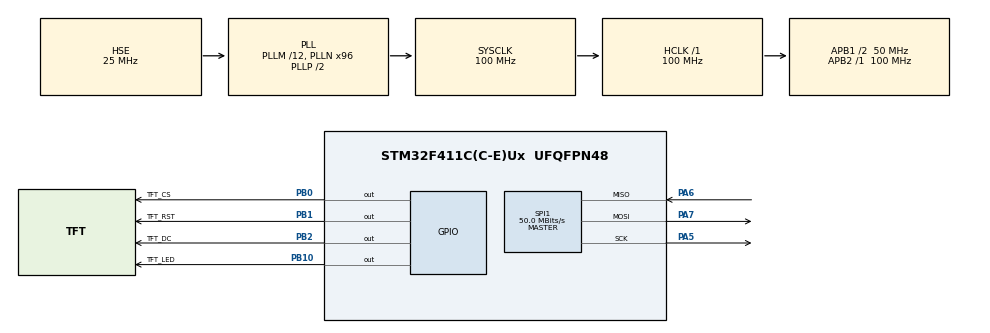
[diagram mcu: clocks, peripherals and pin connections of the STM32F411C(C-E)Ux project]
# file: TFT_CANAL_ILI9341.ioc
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Mcu.Family=STM32F4
Mcu.Name=STM32F411C(C-E)Ux
Mcu.Package=UFQFPN48
NVIC.PriorityGroup=NVIC_PRIORITYGROUP_4
PA5.Mode=Full_Duplex_Master
PA5.Signal=SPI1_SCK
PA6.Mode=Full_Duplex_Master
PA6.Signal=SPI1_MISO
PA7.Mode=Full_Duplex_Master
PA7.Signal=SPI1_MOSI
PB0.GPIO_Label=TFT_CS
PB0.Signal=GPIO_Output
PB1.GPIO_Label=TFT_RST
PB1.Signal=GPIO_Output
PB10.GPIO_Label=TFT_LED
PB10.Signal=GPIO_Output
PB2.GPIO_Label=TFT_DC
PB2.Signal=GPIO_Output
PH0\ -\ OSC_IN.Mode=HSE-External-Oscillator
PH0\ -\ OSC_IN.Signal=RCC_OSC_IN
PH1\ -\ OSC_OUT.Mode=HSE-External-Oscillator
PH1\ -\ OSC_OUT.Signal=RCC_OSC_OUT
ProjectManager.HeapSize=0x200
ProjectManager.StackSize=0x400
ProjectManager.TargetToolchain=STM32CubeIDE
RCC.48MHZClocksFreq_Value=50000000
RCC.AHBFreq_Value=100000000
RCC.APB1CLKDivider=RCC_HCLK_DIV2
RCC.APB1Freq_Value=50000000
RCC.APB1TimFreq_Value=100000000
RCC.APB2Freq_Value=100000000
RCC.APB2TimFreq_Value=100000000
RCC.CortexFreq_Value=100000000
RCC.HCLKFreq_Value=100000000
RCC.HSE_VALUE=25000000
RCC.HSI_VALUE=16000000
RCC.LSE_VALUE=32768
RCC.PLLM=12
RCC.PLLN=96
RCC.PLLSourceVirtual=RCC_PLLSOURCE_HSE
RCC.SYSCLKFreq_VALUE=100000000
RCC.SYSCLKSource=RCC_SYSCLKSOURCE_PLLCLK
RCC.VCOOutputFreq_Value=200000000
SPI1.BaudRatePrescaler=SPI_BAUDRATEPRESCALER_2
SPI1.CalculateBaudRate=50.0 MBits/s
SPI1.Direction=SPI_DIRECTION_2LINES
SPI1.Mode=SPI_MODE_MASTER
SPI1.VirtualType=VM_MASTER
board=custom

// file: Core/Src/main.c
/* USER CODE BEGIN Header */
/**
  ******************************************************************************
  * @file           : main.c
  * @brief          : Main program body
  ******************************************************************************
  * @attention
  *
  * Copyright (c) 2025 STMicroelectronics.
  * All rights reserved.
  *
  * This software is licensed under terms that can be found in the LICENSE file
  * in the root directory of this software component.
  * If no LICENSE file comes with this software, it is provided AS-IS.
  *
  ******************************************************************************
  */
/* USER CODE END Header */
#include "main.h"

/* USER CODE BEGIN Includes */
#include "pinout.h"
#include "TFT_.h"

/* USER CODE END Includes */

SPI_HandleTypeDef hspi1;

void SystemClock_Config(void);
static void MX_GPIO_Init(void);
static void MX_SPI1_Init(void);

int main(void)
{

  /* MCU Configuration--------------------------------------------------------*/

  /* Reset of all peripherals, Initializes the Flash interface and the Systick. */
  HAL_Init();

  /* Configure the system clock */
  SystemClock_Config();

  /* Initialize all configured peripherals */
  MX_GPIO_Init();
  MX_SPI1_Init();
  /* USER CODE BEGIN 2 */

  //ENCENDER TFT
  PIN_ON(TFT_LED);

   TFT_Init();
   TFT_direction(Horizontal);

   TFT_Clear(YELLOW);
   if(TFTdev.id == 0)
       TFT_ShowString(10, 40, (uint8_t *)"2.8 Inch ILI9341 TFT", RED, BLACK, 16, 1);
     else
       TFT_ShowString(10, 40, (uint8_t *)"2.8 Inch ST7789 TFT", RED, BLACK, 16, 0);

     TFT_ShowString(10, 56, (uint8_t *)"TFT_W:", GREEN, BLACK, 16, 0);
     TFT_ShowIntNum(58, 56, TFT_W, 3, WHITE, BLACK, 16);

     TFT_ShowString(90, 56, (uint8_t *)"TFT_H:", BLUE, BLACK, 16, 0);
     TFT_ShowIntNum(138, 56, TFT_H, 3, WHITE, BLACK, 16);

     TFT_DrawCircle(200, 50, 30, BLUE);

     TFT_Fill(0, 120, 50, 170, WHITE);
  /* USER CODE END 2 */

  /* Infinite loop */
  while (1)
  {

  }
}

void SystemClock_Config(void)
{
  RCC_OscInitTypeDef RCC_OscInitStruct = {0};
  RCC_ClkInitTypeDef RCC_ClkInitStruct = {0};

  /** Configure the main internal regulator output voltage
  */
  __HAL_RCC_PWR_CLK_ENABLE();
  __HAL_PWR_VOLTAGESCALING_CONFIG(PWR_REGULATOR_VOLTAGE_SCALE1);

  /** Initializes the RCC Oscillators according to the specified parameters
  * in the RCC_OscInitTypeDef structure.
  */
  RCC_OscInitStruct.OscillatorType = RCC_OSCILLATORTYPE_HSE;
  RCC_OscInitStruct.HSEState = RCC_HSE_ON;
  RCC_OscInitStruct.PLL.PLLState = RCC_PLL_ON;
  RCC_OscInitStruct.PLL.PLLSource = RCC_PLLSOURCE_HSE;
  RCC_OscInitStruct.PLL.PLLM = 12;
  RCC_OscInitStruct.PLL.PLLN = 96;
  RCC_OscInitStruct.PLL.PLLP = RCC_PLLP_DIV2;
  RCC_OscInitStruct.PLL.PLLQ = 4;
  if (HAL_RCC_OscConfig(&RCC_OscInitStruct) != HAL_OK)
  {
    Error_Handler();
  }

  /** Initializes the CPU, AHB and APB buses clocks
  */
  RCC_ClkInitStruct.ClockType = RCC_CLOCKTYPE_HCLK|RCC_CLOCKTYPE_SYSCLK
                              |RCC_CLOCKTYPE_PCLK1|RCC_CLOCKTYPE_PCLK2;
  RCC_ClkInitStruct.SYSCLKSource = RCC_SYSCLKSOURCE_PLLCLK;
  RCC_ClkInitStruct.AHBCLKDivider = RCC_SYSCLK_DIV1;
  RCC_ClkInitStruct.APB1CLKDivider = RCC_HCLK_DIV2;
  RCC_ClkInitStruct.APB2CLKDivider = RCC_HCLK_DIV1;

  if (HAL_RCC_ClockConfig(&RCC_ClkInitStruct, FLASH_LATENCY_3) != HAL_OK)
  {
    Error_Handler();
  }
}

static void MX_SPI1_Init(void)
{

  /* SPI1 parameter configuration*/
  hspi1.Instance = SPI1;
  hspi1.Init.Mode = SPI_MODE_MASTER;
  hspi1.Init.Direction = SPI_DIRECTION_2LINES;
  hspi1.Init.DataSize = SPI_DATASIZE_8BIT;
  hspi1.Init.CLKPolarity = SPI_POLARITY_LOW;
  hspi1.Init.CLKPhase = SPI_PHASE_1EDGE;
  hspi1.Init.NSS = SPI_NSS_SOFT;
  hspi1.Init.BaudRatePrescaler = SPI_BAUDRATEPRESCALER_2;
  hspi1.Init.FirstBit = SPI_FIRSTBIT_MSB;
  hspi1.Init.TIMode = SPI_TIMODE_DISABLE;
  hspi1.Init.CRCCalculation = SPI_CRCCALCULATION_DISABLE;
  hspi1.Init.CRCPolynomial = 10;
  if (HAL_SPI_Init(&hspi1) != HAL_OK)
  {
    Error_Handler();
  }

}

static void MX_GPIO_Init(void)
{
  GPIO_InitTypeDef GPIO_InitStruct = {0};

  /* GPIO Ports Clock Enable */
  __HAL_RCC_GPIOH_CLK_ENABLE();
  __HAL_RCC_GPIOA_CLK_ENABLE();
  __HAL_RCC_GPIOB_CLK_ENABLE();

  /*Configure GPIO pin Output Level */
  HAL_GPIO_WritePin(GPIOB, TFT_CS_Pin|TFT_RST_Pin|TFT_DC_Pin|TFT_LED_Pin, GPIO_PIN_RESET);

  /*Configure GPIO pins : TFT_CS_Pin TFT_RST_Pin TFT_DC_Pin TFT_LED_Pin */
  GPIO_InitStruct.Pin = TFT_CS_Pin|TFT_RST_Pin|TFT_DC_Pin|TFT_LED_Pin;
  GPIO_InitStruct.Mode = GPIO_MODE_OUTPUT_PP;
  GPIO_InitStruct.Pull = GPIO_NOPULL;
  GPIO_InitStruct.Speed = GPIO_SPEED_FREQ_LOW;
  HAL_GPIO_Init(GPIOB, &GPIO_InitStruct);

}

void Error_Handler(void)
{
  __disable_irq();
  while (1)
  {
  }
}
